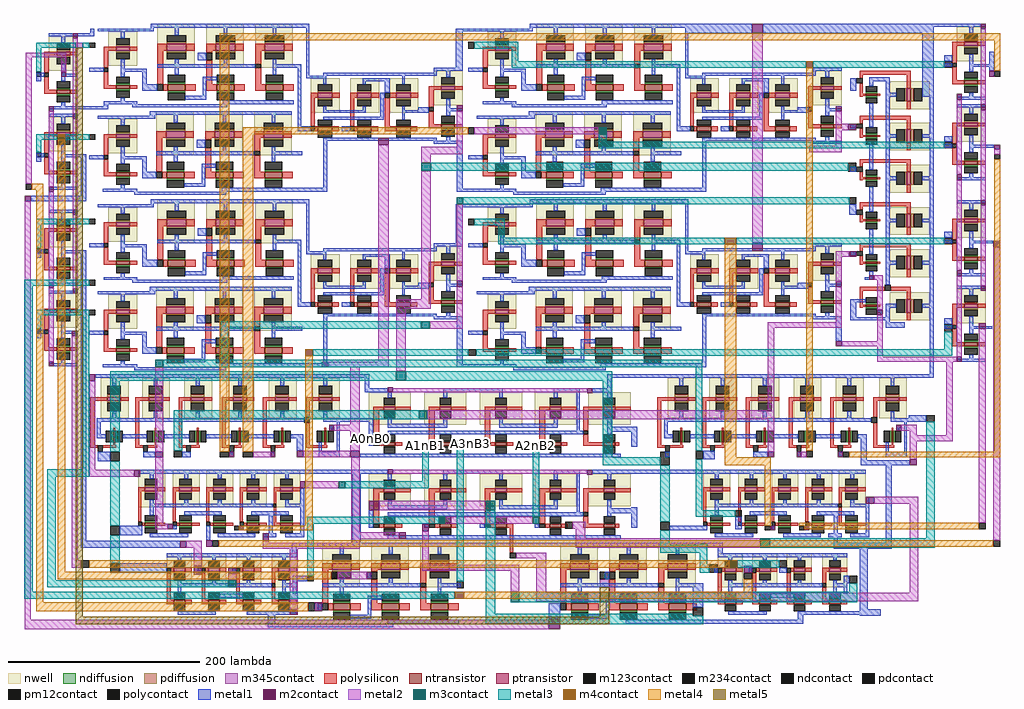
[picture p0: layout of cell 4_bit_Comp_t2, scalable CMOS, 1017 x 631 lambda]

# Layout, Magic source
magic
tech scmos
<< polysilicon >>
rect 384 -383 388 -353
<< metal1 >>
rect -53 158 -49 163
rect -72 155 -71 158
rect -66 155 -49 158
rect 328 160 375 163
rect 328 119 335 160
rect 567 158 637 168
rect 648 165 871 168
rect 648 158 826 165
rect -109 108 -104 113
rect 739 98 745 111
rect 814 96 826 158
rect 837 129 845 135
rect 884 126 889 139
rect 871 123 889 126
rect 884 119 889 123
rect -39 82 -34 87
rect -72 79 -34 82
rect -73 29 -57 32
rect -109 24 -104 29
rect -63 -11 -57 29
rect 329 -4 335 46
rect 837 45 845 51
rect 873 39 889 42
rect 329 -7 387 -4
rect -115 -17 -57 -11
rect 328 -23 371 -20
rect 328 -64 335 -23
rect 738 -31 745 -20
rect 837 -55 845 -49
rect -70 -71 -57 -68
rect 874 -61 888 -58
rect -109 -76 -104 -71
rect -109 -160 -104 -155
rect -63 -371 -57 -71
rect 329 -187 335 -137
rect 724 -163 730 -137
rect 776 -149 796 -143
rect 329 -190 390 -187
rect 822 -197 826 -124
rect 837 -145 845 -139
rect 870 -150 873 -147
rect 880 -150 887 -147
rect -48 -201 -29 -197
rect 152 -201 238 -197
rect 233 -216 238 -201
rect 486 -201 572 -197
rect 722 -201 826 -197
rect 486 -216 490 -201
rect 208 -247 242 -243
rect 800 -247 818 -240
rect 162 -277 169 -260
rect 237 -272 242 -247
rect 511 -273 517 -252
rect -45 -288 -32 -278
rect 2 -284 15 -278
rect 43 -284 52 -278
rect 228 -284 288 -280
rect 586 -286 598 -277
rect 638 -284 653 -278
rect 750 -287 756 -260
rect 750 -292 801 -287
rect 149 -301 249 -297
rect 482 -301 609 -297
rect 166 -331 170 -316
rect -22 -365 1 -355
rect 68 -370 72 -355
rect -63 -378 41 -371
rect 157 -377 206 -373
rect 220 -377 229 -301
rect 237 -357 242 -339
rect 511 -357 517 -336
rect 551 -360 590 -355
rect 619 -359 626 -346
rect 722 -373 726 -357
rect 776 -373 782 -292
rect 326 -377 453 -373
rect 575 -377 606 -373
rect 157 -388 162 -377
rect 601 -388 606 -377
rect 722 -379 782 -373
rect -22 -404 27 -394
rect 158 -413 173 -407
rect 665 -404 673 -399
rect 732 -415 738 -407
rect 132 -457 140 -444
rect 425 -452 437 -436
rect 575 -440 586 -415
rect 749 -442 757 -379
rect 749 -444 771 -442
rect 257 -457 261 -454
rect 132 -461 263 -457
rect 684 -453 690 -445
rect 726 -448 771 -444
rect 749 -449 771 -448
rect 567 -457 690 -453
<< m2contact >>
rect -71 153 -66 158
rect 637 158 648 168
rect 875 163 880 168
rect -83 113 -78 118
rect 884 113 889 119
rect 850 89 855 95
rect -96 77 -91 82
rect 329 77 335 83
rect 724 77 730 82
rect 875 78 880 84
rect -71 69 -66 74
rect 737 57 745 64
rect 247 42 258 49
rect -96 -7 -91 -2
rect 889 37 895 42
rect 850 5 855 11
rect -121 -17 -115 -11
rect -71 -31 -66 -26
rect 875 -21 880 -16
rect 637 -69 648 -60
rect 888 -65 895 -58
rect -96 -107 -91 -102
rect -71 -113 -66 -108
rect -72 -157 -66 -152
rect -96 -189 -91 -184
rect 738 -75 745 -69
rect 759 -99 764 -94
rect 850 -95 855 -89
rect 329 -106 335 -100
rect 724 -106 730 -101
rect 875 -110 880 -105
rect 767 -135 773 -130
rect 188 -190 195 -184
rect 724 -168 730 -163
rect 873 -150 880 -144
rect 850 -184 855 -179
rect -54 -204 -48 -197
rect 196 -256 201 -250
rect 787 -256 792 -250
rect 15 -284 23 -278
rect 92 -284 97 -278
rect 135 -284 140 -278
rect 162 -284 169 -277
rect 218 -284 228 -277
rect 653 -284 660 -278
rect 683 -284 688 -278
rect 726 -284 731 -278
rect 801 -292 808 -286
rect -7 -304 -1 -297
rect 166 -316 171 -309
rect 28 -359 33 -353
rect 102 -360 107 -355
rect 41 -378 47 -371
rect 68 -377 74 -370
rect 127 -371 133 -363
rect 237 -339 248 -329
rect 755 -332 764 -325
rect 293 -361 300 -353
rect 656 -360 661 -355
rect 691 -360 696 -355
rect 269 -369 276 -362
rect 55 -406 63 -397
rect 91 -405 99 -399
rect 235 -411 240 -403
rect 628 -404 637 -397
rect 155 -448 163 -442
rect 181 -444 189 -435
rect 425 -463 437 -452
<< pm12contact >>
rect 442 -358 450 -351
rect 384 -389 391 -383
<< metal2 >>
rect -120 133 -78 138
rect -120 1 -114 133
rect -83 118 -78 133
rect -96 -2 -91 77
rect -121 -453 -115 -17
rect -96 -102 -91 -7
rect -96 -184 -91 -107
rect -71 74 -66 153
rect -71 -26 -66 69
rect -71 -108 -66 -31
rect -72 -391 -66 -157
rect 247 -184 258 42
rect 329 40 335 77
rect 347 53 477 60
rect 292 32 335 40
rect 292 23 302 32
rect 292 -119 302 15
rect 195 -190 258 -184
rect 266 -129 302 -119
rect 329 -100 335 -20
rect 637 -60 648 158
rect 724 64 730 77
rect 724 57 737 64
rect 724 41 730 57
rect 696 34 730 41
rect 850 11 855 89
rect -54 -297 -48 -204
rect 15 -278 23 -190
rect 218 -250 228 -190
rect 266 -194 276 -129
rect 329 -142 335 -106
rect 301 -150 335 -142
rect 724 -75 738 -69
rect 724 -101 730 -75
rect 850 -89 855 5
rect 764 -99 773 -94
rect 724 -143 730 -106
rect 653 -149 730 -143
rect 767 -130 773 -99
rect 653 -235 660 -149
rect 767 -163 773 -135
rect 730 -168 773 -163
rect 767 -179 773 -168
rect 850 -179 855 -95
rect 875 84 880 163
rect 875 -16 880 78
rect 889 32 895 37
rect 875 -105 880 -21
rect 767 -184 850 -179
rect 298 -244 660 -235
rect 201 -256 228 -250
rect 218 -277 228 -256
rect 117 -284 135 -278
rect 169 -284 218 -277
rect -54 -304 -7 -297
rect 15 -353 23 -284
rect 171 -316 206 -309
rect 15 -359 28 -353
rect 219 -362 228 -284
rect 653 -278 660 -244
rect 792 -256 808 -250
rect 801 -261 808 -256
rect 839 -261 846 -184
rect 801 -267 846 -261
rect 688 -284 693 -278
rect 801 -286 808 -267
rect 248 -339 359 -329
rect 764 -332 810 -325
rect 317 -353 408 -346
rect 450 -358 463 -351
rect 47 -378 63 -371
rect 127 -373 133 -371
rect 219 -369 269 -362
rect 219 -373 228 -369
rect -72 -399 -63 -391
rect 55 -397 63 -378
rect 127 -379 228 -373
rect 91 -412 99 -405
rect 155 -442 163 -379
rect 293 -396 300 -361
rect 453 -368 463 -358
rect 453 -378 645 -368
rect 391 -389 422 -383
rect 293 -402 394 -396
rect 205 -411 235 -403
rect 385 -424 394 -402
rect 412 -425 422 -389
rect 801 -425 810 -332
rect 873 -352 880 -150
rect 888 -370 895 -65
rect 412 -434 810 -425
rect -121 -463 425 -453
<< m3contact >>
rect 15 -190 23 -182
rect 477 53 485 60
rect 292 15 302 23
rect 329 -20 335 -13
rect 292 -150 301 -142
rect 266 -204 276 -194
rect 290 -244 298 -235
rect 206 -316 213 -309
rect 359 -339 369 -329
rect 310 -353 317 -346
rect 408 -353 415 -346
rect 91 -419 99 -412
rect 645 -378 655 -368
rect 385 -435 394 -424
<< m123contact >>
rect -109 113 -104 118
rect -109 29 -104 34
rect -109 -71 -104 -66
rect -109 -155 -104 -150
rect -54 143 -48 148
rect 341 142 347 149
rect -54 47 -48 53
rect -54 -41 -48 -35
rect -54 -105 -48 -99
rect -54 -136 -48 -130
rect 341 -42 347 -35
rect 837 122 845 129
rect 837 38 845 45
rect 737 14 745 23
rect 738 -20 745 -13
rect 837 -62 845 -55
rect 341 -178 349 -171
rect 837 -153 845 -145
rect 293 -275 300 -268
rect 351 -273 358 -266
rect 408 -276 415 -268
rect -32 -288 -22 -278
rect 34 -284 43 -277
rect -32 -365 -22 -355
rect 541 -292 551 -278
rect 578 -286 586 -277
rect 818 -247 827 -240
rect 619 -346 626 -339
rect -32 -404 -22 -394
rect 541 -360 551 -351
rect 173 -413 180 -407
rect 329 -420 336 -413
rect 478 -411 488 -403
rect 592 -404 601 -395
rect 665 -399 673 -391
rect 738 -415 746 -407
rect 575 -449 586 -440
<< metal3 >>
rect -109 143 -68 148
rect -61 143 -54 148
rect -109 118 -104 143
rect 347 142 393 149
rect 386 129 393 142
rect 386 122 693 129
rect 700 122 837 129
rect -109 47 -87 53
rect -79 47 -54 53
rect -109 34 -104 47
rect 477 45 485 53
rect 477 38 837 45
rect 302 15 737 23
rect 335 -20 738 -13
rect -109 -41 -54 -35
rect -109 -66 -104 -41
rect 347 -42 379 -35
rect 372 -55 379 -42
rect 372 -62 608 -55
rect 620 -62 837 -55
rect -122 -105 -54 -99
rect -122 -424 -113 -105
rect -109 -136 -54 -130
rect -109 -150 -104 -136
rect -61 -296 -54 -136
rect 83 -150 292 -142
rect 83 -182 91 -150
rect 837 -171 845 -153
rect 179 -178 341 -171
rect 349 -178 845 -171
rect 23 -190 585 -182
rect -98 -304 -54 -296
rect -32 -204 266 -194
rect 276 -204 491 -194
rect -32 -278 -22 -204
rect 34 -244 290 -235
rect 34 -277 43 -244
rect -98 -412 -89 -304
rect -32 -355 -22 -288
rect 293 -309 300 -275
rect 213 -316 300 -309
rect 329 -273 351 -266
rect 173 -353 310 -346
rect -32 -394 -22 -365
rect 173 -407 180 -353
rect -98 -419 91 -412
rect 329 -413 336 -273
rect -122 -431 327 -424
rect 359 -447 369 -339
rect 408 -346 415 -276
rect 481 -284 491 -204
rect 578 -277 585 -190
rect 481 -292 541 -284
rect 541 -351 551 -292
rect 578 -339 585 -286
rect 578 -346 619 -339
rect 541 -375 551 -360
rect 818 -368 827 -247
rect 582 -375 590 -374
rect 541 -383 590 -375
rect 655 -378 827 -368
rect 582 -395 590 -383
rect 582 -404 592 -395
rect 621 -399 665 -391
rect 738 -424 746 -415
rect 394 -435 746 -424
rect 359 -449 575 -447
rect 359 -458 586 -449
<< m234contact >>
rect 889 113 895 119
rect 341 53 347 60
rect 889 27 895 32
rect -120 -5 -114 1
rect 82 -284 92 -278
rect 106 -284 117 -278
rect 97 -360 102 -355
rect -63 -399 -54 -391
rect 74 -377 81 -370
rect 198 -411 205 -403
rect 174 -444 181 -435
rect 693 -284 700 -277
rect 731 -284 738 -278
rect 650 -360 656 -355
rect 686 -360 691 -355
rect 873 -359 880 -352
rect 888 -377 895 -370
rect 628 -411 637 -404
<< m4contact >>
rect 693 122 700 129
rect -87 47 -79 53
rect 608 -62 620 -55
rect 171 -178 179 -171
rect 327 -431 336 -424
rect 613 -399 621 -391
<< metal4 >>
rect 82 151 895 158
rect -114 -5 -102 1
rect -109 -435 -102 -5
rect -87 -403 -79 47
rect 82 -278 92 151
rect 106 53 341 60
rect 106 -278 117 53
rect 171 -355 179 -178
rect 608 -284 620 -62
rect 693 -277 700 122
rect 889 119 895 151
rect 889 -278 895 27
rect 738 -284 895 -278
rect 608 -292 656 -284
rect 102 -360 179 -355
rect 650 -355 656 -292
rect 686 -355 873 -352
rect 691 -359 873 -355
rect 81 -377 888 -370
rect -54 -399 613 -391
rect -87 -411 198 -403
rect 628 -424 637 -411
rect 336 -431 637 -424
rect -109 -444 174 -435
<< m345contact >>
rect -68 143 -61 148
rect 478 -419 488 -411
<< metal5 >>
rect -68 -450 -61 143
rect 478 -450 488 -419
rect -68 -458 488 -450
use 3_input_AND  3_input_AND_0
transform 1 0 72 0 1 -409
box -49 -39 90 25
use AND_2  AND_2_0
transform 1 0 190 0 1 -420
box -8 -37 143 47
use 4_input_OR  4_input_OR_1
transform 1 0 239 0 1 -333
box -6 -36 278 37
use 4_input_OR  4_input_OR_0
transform 1 0 239 0 1 -248
box -6 -36 278 37
use 5_input_AND  5_input_AND_0
transform 1 0 -41 0 1 -239
box -12 -45 256 42
use XNOR  XNOR_1
transform 1 0 237 0 1 -160
box -291 -33 98 145
use 4_input_AND  4_input_AND_0
transform 1 0 61 0 1 -314
box -64 -53 109 17
use CMOS_in  CMOS_in_3
transform 1 0 -96 0 1 -149
box -13 -40 30 39
use 3_input_AND  3_input_AND_1
transform 1 0 646 0 1 -409
box -49 -39 90 25
use AND_2  AND_2_1
transform 1 0 438 0 1 -420
box -8 -37 143 47
use 5_input_AND  5_input_AND_1
transform 1 0 550 0 1 -239
box -12 -45 256 42
use XNOR  XNOR_3
transform 1 0 632 0 1 -160
box -291 -33 98 145
use 4_input_AND  4_input_AND_1
transform 1 0 650 0 1 -314
box -64 -53 109 17
use XNOR  XNOR_0
transform 1 0 237 0 1 23
box -291 -33 98 145
use CMOS_in  CMOS_in_2
transform 1 0 -96 0 1 -65
box -13 -40 30 39
use CMOS_in  CMOS_in_1
transform 1 0 -96 0 1 35
box -13 -40 30 39
use CMOS_in  CMOS_in_0
transform 1 0 -96 0 1 119
box -13 -40 30 39
use XNOR  XNOR_2
transform 1 0 632 0 1 23
box -291 -33 98 145
use 5_input_AND  5_input_AND_2
transform 0 1 784 -1 0 107
box -12 -45 256 42
use CMOS_in  CMOS_in_7
transform 1 0 850 0 1 -144
box -13 -40 30 39
use CMOS_in  CMOS_in_6
transform 1 0 850 0 1 -55
box -13 -40 30 39
use CMOS_in  CMOS_in_5
transform 1 0 850 0 1 45
box -13 -40 30 39
use CMOS_in  CMOS_in_4
transform 1 0 850 0 1 129
box -13 -40 30 39
<< labels >>
flabel metal3 340 -273 347 -266 0 FreeSans 9 0 0 0 A3nB3
flabel m123contact 293 -275 300 -268 0 FreeSans 9 0 0 0 A1nB1
flabel m123contact 408 -275 415 -268 0 FreeSans 9 0 0 0 A2nB2
flabel metal1 237 -268 242 -261 0 FreeSans 9 0 0 0 A0nB0
<< end >>

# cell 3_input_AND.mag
magic
tech scmos
<< nwell >>
rect -45 -10 -19 25
rect -9 -10 17 25
rect 27 -10 53 25
rect 64 -10 90 25
<< ntransistor >>
rect -38 -28 -26 -23
rect -2 -28 10 -23
rect 34 -28 46 -23
rect 71 -28 83 -23
<< ptransistor >>
rect -38 6 -26 10
rect -2 6 10 10
rect 34 6 46 10
rect 71 6 83 10
<< ndiffusion >>
rect -38 -23 -26 -22
rect -2 -23 10 -22
rect 34 -23 46 -22
rect 71 -23 83 -22
rect -38 -29 -26 -28
rect -2 -29 10 -28
rect 34 -29 46 -28
rect 71 -29 83 -28
<< pdiffusion >>
rect -38 10 -26 11
rect -2 10 10 11
rect 34 10 46 11
rect 71 10 83 11
rect -38 4 -26 6
rect -2 4 10 6
rect 34 4 46 6
rect 71 4 83 6
<< ndcontact >>
rect -38 -22 -26 -16
rect -2 -22 10 -16
rect 34 -22 46 -16
rect 71 -22 83 -16
rect -38 -35 -26 -29
rect -2 -35 10 -29
rect 34 -35 46 -29
rect 71 -35 83 -29
<< pdcontact >>
rect -38 11 -26 18
rect -2 11 10 18
rect 34 11 46 18
rect 71 11 83 18
rect -38 -3 -26 4
rect -2 -3 10 4
rect 34 -3 46 4
rect 71 -3 83 4
<< polysilicon >>
rect -41 6 -38 10
rect -26 6 -19 10
rect -45 -23 -41 5
rect -5 6 -2 10
rect 10 6 17 10
rect -9 -23 -5 5
rect 31 6 34 10
rect 46 6 53 10
rect 64 6 71 10
rect 83 6 90 10
rect 27 -23 31 5
rect 64 -6 68 6
rect 64 -23 68 -10
rect -45 -28 -38 -23
rect -26 -28 -19 -23
rect -9 -28 -2 -23
rect 10 -28 17 -23
rect 27 -28 34 -23
rect 46 -28 53 -23
rect 64 -28 71 -23
rect 83 -28 90 -23
<< polycontact >>
rect -45 5 -41 10
rect -9 5 -5 10
rect 27 5 31 10
rect 64 -10 68 -6
<< metal1 >>
rect -45 21 90 25
rect -34 18 -30 21
rect 2 18 6 21
rect 38 18 42 21
rect 75 18 79 21
rect -49 5 -45 10
rect -13 5 -9 10
rect 23 5 27 10
rect -34 -6 -30 -3
rect 2 -6 6 -3
rect 38 -6 42 -3
rect 75 -6 79 -3
rect 86 -6 90 2
rect -34 -10 64 -6
rect 75 -10 90 -6
rect -34 -16 -30 -10
rect 75 -16 79 -10
rect 10 -21 34 -17
rect 86 -17 90 -10
rect -34 -39 6 -35
rect 38 -39 90 -35
<< end >>

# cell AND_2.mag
magic
tech scmos
<< nwell >>
rect -1 1 38 47
rect 50 1 89 47
rect 101 1 140 47
<< ntransistor >>
rect 10 -23 28 -16
rect 61 -23 79 -16
rect 112 -23 130 -16
<< ptransistor >>
rect 9 19 29 26
rect 60 19 80 26
rect 111 19 131 26
<< ndiffusion >>
rect 10 -16 28 -14
rect 61 -16 79 -14
rect 112 -16 130 -14
rect 10 -25 28 -23
rect 61 -25 79 -23
rect 112 -25 130 -23
<< pdiffusion >>
rect 9 26 29 28
rect 60 26 80 28
rect 111 26 131 28
rect 9 17 29 19
rect 60 17 80 19
rect 111 17 131 19
<< ndcontact >>
rect 10 -14 28 -6
rect 61 -14 79 -6
rect 112 -14 130 -6
rect 10 -33 28 -25
rect 61 -33 79 -25
rect 112 -33 130 -25
<< pdcontact >>
rect 9 28 29 35
rect 60 28 80 35
rect 111 28 131 35
rect 9 10 29 17
rect 60 10 80 17
rect 111 10 131 17
<< polysilicon >>
rect -1 19 9 26
rect 29 19 38 26
rect 50 19 60 26
rect 80 19 89 26
rect 101 19 111 26
rect 131 19 140 26
rect -1 -16 5 19
rect 50 17 56 19
rect 50 -16 56 9
rect 101 5 107 19
rect 101 -16 107 1
rect 5 -23 10 -16
rect 28 -23 39 -16
rect 50 -23 61 -16
rect 79 -23 90 -16
rect 101 -23 112 -16
rect 130 -23 141 -16
<< polycontact >>
rect 50 9 56 17
rect 101 1 107 5
rect -1 -23 5 -16
<< metal1 >>
rect -8 43 140 47
rect 17 35 21 43
rect 68 35 72 43
rect 119 35 123 43
rect 17 5 21 10
rect 45 9 50 17
rect 68 5 72 10
rect 119 5 123 10
rect -1 1 101 5
rect 119 1 143 5
rect 17 -6 21 1
rect 119 -6 123 1
rect 46 -12 61 -8
rect -6 -23 -1 -16
rect 46 -28 50 -12
rect 28 -32 50 -28
rect 67 -37 141 -33
<< end >>

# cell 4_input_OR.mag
magic
tech scmos
<< nwell >>
rect -2 -2 42 32
rect 56 -2 100 32
rect 114 -2 158 32
rect 171 -2 215 32
rect 227 -2 271 32
<< ntransistor >>
rect 14 -24 26 -20
rect 72 -24 84 -20
rect 130 -24 142 -20
rect 187 -24 199 -20
rect 243 -24 255 -20
<< ptransistor >>
rect 14 13 26 17
rect 72 13 84 17
rect 130 13 142 17
rect 187 13 199 17
rect 243 13 255 17
<< ndiffusion >>
rect 14 -20 26 -19
rect 72 -20 84 -19
rect 130 -20 142 -19
rect 187 -20 199 -19
rect 243 -20 255 -19
rect 14 -25 26 -24
rect 72 -25 84 -24
rect 130 -25 142 -24
rect 187 -25 199 -24
rect 243 -25 255 -24
<< pdiffusion >>
rect 14 17 26 19
rect 72 17 84 19
rect 130 17 142 19
rect 187 17 199 19
rect 243 17 255 19
rect 14 12 26 13
rect 72 12 84 13
rect 130 12 142 13
rect 187 12 199 13
rect 243 12 255 13
<< ndcontact >>
rect 14 -19 26 -12
rect 72 -19 84 -12
rect 130 -19 142 -12
rect 187 -19 199 -12
rect 243 -19 255 -12
rect 14 -32 26 -25
rect 72 -32 84 -25
rect 130 -32 142 -25
rect 187 -32 199 -25
rect 243 -32 255 -25
<< pdcontact >>
rect 14 19 26 26
rect 72 19 84 26
rect 130 19 142 26
rect 187 19 199 26
rect 243 19 255 26
rect 14 5 26 12
rect 72 5 84 12
rect 130 5 142 12
rect 187 5 199 12
rect 243 5 255 12
<< polysilicon >>
rect 3 13 14 17
rect 26 13 42 17
rect 61 13 72 17
rect 84 13 100 17
rect 119 13 130 17
rect 142 13 158 17
rect 176 13 187 17
rect 199 13 215 17
rect 222 13 243 17
rect 255 13 271 17
rect 3 -20 9 13
rect 61 -20 67 13
rect 119 -20 125 13
rect 176 -20 182 13
rect 222 -8 227 13
rect 222 -20 227 -12
rect 9 -24 14 -20
rect 26 -24 33 -20
rect 67 -24 72 -20
rect 84 -24 91 -20
rect 125 -24 130 -20
rect 142 -24 149 -20
rect 182 -24 187 -20
rect 199 -24 205 -20
rect 222 -24 243 -20
rect 255 -24 259 -20
<< polycontact >>
rect 222 -12 227 -8
rect 3 -24 9 -20
rect 61 -24 67 -20
rect 119 -24 125 -20
rect 176 -24 182 -20
<< metal1 >>
rect -6 32 18 36
rect 76 32 138 36
rect 18 26 22 32
rect 76 26 80 32
rect 134 26 138 32
rect 191 32 218 36
rect 191 26 195 32
rect 18 -1 22 5
rect 76 -1 80 5
rect 18 -5 80 -1
rect 134 -1 138 5
rect 191 -1 195 5
rect 134 -5 195 -1
rect 215 -8 218 32
rect 231 32 251 36
rect 247 26 251 32
rect 247 -4 251 5
rect 18 -12 222 -8
rect 247 -9 278 -4
rect 247 -12 251 -9
rect -2 -24 3 -20
rect 56 -24 61 -20
rect 114 -24 119 -20
rect 171 -24 176 -20
rect 18 -36 261 -32
<< m2contact >>
rect 18 32 23 37
rect 226 31 231 36
<< metal2 >>
rect 23 32 226 36
<< end >>

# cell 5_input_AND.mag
magic
tech scmos
<< nwell >>
rect -1 -4 28 38
rect 42 -4 71 38
rect 86 -4 115 38
rect 130 -4 159 38
rect 174 -4 203 38
rect 219 -4 248 38
<< ntransistor >>
rect 12 -29 14 -17
rect 55 -29 57 -17
rect 99 -29 101 -17
rect 143 -29 145 -17
rect 187 -29 189 -17
rect 232 -29 234 -17
<< ptransistor >>
rect 6 14 20 18
rect 49 14 63 18
rect 93 14 107 18
rect 137 14 151 18
rect 181 14 195 18
rect 226 14 240 18
<< ndiffusion >>
rect 10 -29 12 -17
rect 14 -29 16 -17
rect 53 -29 55 -17
rect 57 -29 59 -17
rect 97 -29 99 -17
rect 101 -29 103 -17
rect 141 -29 143 -17
rect 145 -29 147 -17
rect 185 -29 187 -17
rect 189 -29 191 -17
rect 230 -29 232 -17
rect 234 -29 236 -17
<< pdiffusion >>
rect 6 18 20 21
rect 49 18 63 21
rect 93 18 107 21
rect 137 18 151 21
rect 181 18 195 21
rect 226 18 240 21
rect 6 12 20 14
rect 49 12 63 14
rect 93 12 107 14
rect 137 12 151 14
rect 181 12 195 14
rect 226 12 240 14
<< ndcontact >>
rect 4 -29 10 -17
rect 16 -29 22 -17
rect 47 -29 53 -17
rect 59 -29 65 -17
rect 91 -29 97 -17
rect 103 -29 109 -17
rect 135 -29 141 -17
rect 147 -29 153 -17
rect 179 -29 185 -17
rect 191 -29 197 -17
rect 224 -29 230 -17
rect 236 -29 242 -17
<< pdcontact >>
rect 6 21 20 30
rect 49 21 63 30
rect 93 21 107 30
rect 137 21 151 30
rect 181 21 195 30
rect 226 21 240 30
rect 6 3 20 12
rect 49 3 63 12
rect 93 3 107 12
rect 137 3 151 12
rect 181 3 195 12
rect 226 3 240 12
<< polysilicon >>
rect -12 14 6 18
rect 20 14 28 18
rect 35 14 49 18
rect 63 14 71 18
rect 80 14 93 18
rect 107 14 115 18
rect 125 14 137 18
rect 151 14 159 18
rect 168 14 181 18
rect 195 14 203 18
rect 213 14 226 18
rect 240 14 248 18
rect -12 -32 -8 14
rect 12 -17 14 -14
rect 12 -32 14 -29
rect 35 -32 39 14
rect 55 -17 57 -14
rect 55 -32 57 -29
rect 80 -32 84 14
rect 99 -17 101 -14
rect 99 -32 101 -29
rect 125 -32 129 14
rect 143 -17 145 -14
rect 143 -32 145 -29
rect 168 -32 172 14
rect 213 -3 217 14
rect 187 -17 189 -14
rect 187 -32 189 -29
rect 213 -32 217 -9
rect 232 -17 234 -14
rect 232 -32 234 -29
rect -12 -35 -4 -32
rect 1 -35 15 -32
rect 35 -35 43 -32
rect 48 -35 58 -32
rect 80 -35 88 -32
rect 93 -35 102 -32
rect 125 -35 133 -32
rect 138 -35 146 -32
rect 168 -35 176 -32
rect 181 -35 190 -32
rect 213 -35 235 -32
<< polycontact >>
rect 211 -9 217 -3
rect -4 -39 1 -32
rect 43 -39 48 -32
rect 88 -39 93 -32
rect 133 -39 138 -32
rect 176 -39 181 -32
<< metal1 >>
rect -6 38 248 42
rect 11 30 15 38
rect 54 30 58 38
rect 98 30 102 38
rect 142 30 146 38
rect 186 30 190 38
rect 231 30 235 38
rect 11 -4 15 3
rect 54 -4 58 3
rect 98 -4 102 3
rect 142 -4 146 3
rect 186 -4 190 3
rect -5 -8 211 -4
rect -5 -21 -1 -8
rect 231 -4 235 3
rect 231 -8 256 -4
rect 237 -14 242 -11
rect 237 -17 240 -14
rect -5 -25 4 -21
rect 22 -25 47 -21
rect 65 -25 91 -21
rect 109 -25 135 -21
rect 153 -25 179 -21
rect 197 -25 206 -21
rect 203 -30 206 -25
rect -4 -45 1 -39
rect 43 -45 48 -39
rect 88 -45 93 -39
rect 133 -45 138 -39
rect 176 -45 181 -39
rect 226 -39 229 -29
rect 245 -39 248 -8
rect 226 -45 248 -39
<< end >>

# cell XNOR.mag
magic
tech scmos
<< metal1 >>
rect 68 94 71 99
rect 23 91 71 94
rect 52 52 63 58
rect 44 23 71 26
rect 68 20 71 23
use XOR  XOR_0
transform 1 0 -147 0 1 56
box -144 -89 215 89
use CMOS_in  CMOS_in_0
transform 1 0 68 0 1 60
box -13 -40 30 39
<< end >>

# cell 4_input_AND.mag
magic
tech scmos
<< nwell >>
rect -64 -22 -36 17
rect -28 -22 0 17
rect 7 -22 35 17
rect 42 -22 70 17
rect 77 -22 105 17
<< ntransistor >>
rect -57 -41 -44 -38
rect -21 -41 -8 -38
rect 14 -41 27 -38
rect 49 -41 62 -38
rect 84 -41 97 -38
<< ptransistor >>
rect -57 -5 -44 -1
rect -21 -5 -8 -1
rect 14 -5 27 -1
rect 49 -5 62 -1
rect 84 -5 97 -1
<< ndiffusion >>
rect -57 -38 -44 -36
rect -21 -38 -8 -36
rect 14 -38 27 -36
rect 49 -38 62 -36
rect 84 -38 97 -36
rect -57 -43 -44 -41
rect -21 -43 -8 -41
rect 14 -43 27 -41
rect 49 -43 62 -41
rect 84 -43 97 -41
<< pdiffusion >>
rect -57 -1 -44 1
rect -21 -1 -8 1
rect 14 -1 27 1
rect 49 -1 62 1
rect 84 -1 97 1
rect -57 -7 -44 -5
rect -21 -7 -8 -5
rect 14 -7 27 -5
rect 49 -7 62 -5
rect 84 -7 97 -5
<< ndcontact >>
rect -57 -36 -44 -30
rect -21 -36 -8 -30
rect 14 -36 27 -30
rect 49 -36 62 -30
rect 84 -36 97 -30
rect -57 -49 -44 -43
rect -21 -49 -8 -43
rect 14 -49 27 -43
rect 49 -49 62 -43
rect 84 -49 97 -43
<< pdcontact >>
rect -57 1 -44 8
rect -21 1 -8 8
rect 14 1 27 8
rect 49 1 62 8
rect 84 1 97 8
rect -57 -14 -44 -7
rect -21 -14 -8 -7
rect 14 -14 27 -7
rect 49 -14 62 -7
rect 84 -14 97 -7
<< polysilicon >>
rect -64 -5 -57 -1
rect -44 -5 -36 -1
rect -28 -5 -21 -1
rect -8 -5 0 -1
rect 7 -5 14 -1
rect 27 -5 35 -1
rect 42 -5 49 -1
rect 62 -5 70 -1
rect 77 -5 84 -1
rect 97 -5 105 -1
rect -64 -37 -61 -5
rect -28 -37 -25 -5
rect -60 -41 -57 -38
rect -44 -41 -36 -38
rect 7 -37 10 -5
rect -24 -41 -21 -38
rect -8 -41 0 -38
rect 42 -37 45 -5
rect 77 -18 80 -5
rect 11 -41 14 -38
rect 27 -41 35 -38
rect 77 -38 80 -22
rect 46 -41 49 -38
rect 62 -41 70 -38
rect 77 -41 84 -38
rect 97 -41 105 -38
<< polycontact >>
rect -64 -41 -60 -37
rect -28 -41 -24 -37
rect 7 -41 11 -37
rect 76 -22 80 -18
rect 42 -41 46 -37
<< metal1 >>
rect -64 13 105 17
rect -52 8 -48 13
rect -16 8 -12 13
rect 19 8 23 13
rect 54 8 58 13
rect 89 8 93 13
rect -52 -18 -48 -14
rect -16 -18 -12 -14
rect 19 -18 23 -14
rect 54 -18 58 -14
rect 89 -18 93 -14
rect 105 -18 109 -11
rect -52 -22 76 -18
rect 89 -22 109 -18
rect -52 -30 -48 -22
rect -16 -30 23 -26
rect 54 -30 93 -26
rect -64 -45 -60 -41
rect -28 -45 -24 -41
rect 7 -45 11 -41
rect 42 -45 46 -41
rect 72 -49 76 -30
rect 105 -49 109 -22
rect -52 -53 -12 -49
rect 19 -53 58 -49
rect 66 -53 80 -49
rect 89 -53 109 -49
<< end >>

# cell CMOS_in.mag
magic
tech scmos
<< nwell >>
rect 0 0 30 36
<< ntransistor >>
rect 8 -24 22 -20
<< ptransistor >>
rect 8 16 22 20
<< ndiffusion >>
rect 8 -20 22 -18
rect 8 -26 22 -24
<< pdiffusion >>
rect 8 20 22 22
rect 8 14 22 16
<< ndcontact >>
rect 8 -18 22 -11
rect 8 -33 22 -26
<< pdcontact >>
rect 8 22 22 29
rect 8 7 22 14
<< polysilicon >>
rect -5 16 8 20
rect 22 16 30 20
rect -5 -2 0 16
rect -5 -20 0 -6
rect -5 -24 8 -20
rect 22 -24 30 -20
<< polycontact >>
rect -5 -6 0 -2
<< metal1 >>
rect 0 36 30 39
rect 13 29 17 36
rect -13 -6 -5 -2
rect 13 -3 17 7
rect 13 -6 30 -3
rect 13 -11 17 -6
rect 13 -37 17 -33
rect 0 -40 30 -37
<< end >>

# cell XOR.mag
magic
tech scmos
<< metal1 >>
rect -80 84 -77 89
rect 61 85 85 89
rect -135 81 -120 84
rect -96 81 -77 84
rect -31 51 -24 59
rect 68 43 77 47
rect -144 39 -129 43
rect -97 39 -84 42
rect -89 26 -84 39
rect -89 19 -73 26
rect -129 5 -121 8
rect -99 5 -94 8
rect -5 5 0 9
rect -99 2 0 5
rect -81 -7 -75 -2
rect -135 -10 -119 -7
rect -96 -10 -75 -7
rect 73 -18 77 43
rect 82 32 85 85
rect 194 -4 205 -1
rect 73 -23 87 -18
rect 119 -23 125 -18
rect -32 -40 -25 -32
rect 65 -48 78 -44
rect -144 -52 -129 -48
rect -101 -52 -84 -49
rect -89 -65 -84 -52
rect -89 -72 -74 -65
rect 100 -82 104 -30
rect -130 -86 -118 -83
rect -97 -86 -94 -83
rect -6 -86 -1 -82
rect 63 -86 104 -82
rect -97 -89 -1 -86
use OR_2  OR_2_0 /home/vsoham
transform 1 0 129 0 1 -2
box -47 -31 71 40
use AND_2  AND_2_1 /home/vsoham
transform 1 0 -73 0 1 -49
box -8 -37 143 47
use AND_2  AND_2_0
transform 1 0 -72 0 1 42
box -8 -37 143 47
use CMOS_in  CMOS_in_1 /home/vsoham
transform 1 0 -124 0 1 -46
box -13 -40 30 39
use CMOS_in  CMOS_in_0
transform 1 0 -124 0 1 45
box -13 -40 30 39
<< labels >>
flabel metal1 -144 -52 -137 -48 0 FreeSans 9 0 0 0 B
flabel metal1 -144 39 -137 43 0 FreeSans 9 0 0 0 A
flabel metal1 194 -4 205 -1 0 FreeSans 9 0 0 0 OUT
flabel metal1 65 -48 78 -44 0 FreeSans 9 0 0 0 ABc
flabel metal1 119 -23 125 -18 0 FreeSans 9 0 0 0 ABc
flabel metal1 -31 51 -24 59 0 FreeSans 9 0 0 0 B
flabel metal1 -32 -40 -25 -32 0 FreeSans 9 0 0 0 A
flabel metal1 -135 81 -123 84 0 FreeSans 9 0 0 0 VDD
flabel metal1 -135 -10 -123 -7 0 FreeSans 9 0 0 0 VDD
flabel metal1 -130 -86 -118 -83 0 FreeSans 9 0 0 0 GND
flabel metal1 -129 5 -121 8 0 FreeSans 9 0 0 0 GND
<< end >>

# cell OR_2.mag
magic
tech scmos
<< nwell >>
rect -42 -2 -12 34
rect -1 -2 29 34
rect 40 -2 70 34
<< ntransistor >>
rect -35 -21 -20 -16
rect 6 -21 21 -16
rect 47 -21 62 -16
<< ptransistor >>
rect -35 14 -20 19
rect 6 14 21 19
rect 47 14 62 19
<< ndiffusion >>
rect -35 -16 -20 -15
rect 6 -16 21 -15
rect 47 -16 62 -15
rect -35 -22 -20 -21
rect 6 -22 21 -21
rect 47 -22 62 -21
<< pdiffusion >>
rect -35 19 -20 21
rect 6 19 21 21
rect 47 19 62 21
rect -35 12 -20 14
rect 6 12 21 14
rect 47 12 62 14
<< ndcontact >>
rect -35 -15 -20 -9
rect 6 -15 21 -9
rect 47 -15 62 -9
rect -35 -28 -20 -22
rect 6 -28 21 -22
rect 47 -28 62 -22
<< pdcontact >>
rect -35 21 -20 28
rect 6 21 21 28
rect 47 21 62 28
rect -35 5 -20 12
rect 6 5 21 12
rect 47 5 62 12
<< polysilicon >>
rect -42 14 -35 19
rect -20 14 -12 19
rect -1 14 6 19
rect 21 14 29 19
rect 40 14 47 19
rect 62 14 70 19
rect -42 -16 -38 14
rect -1 -16 3 14
rect 35 -16 40 14
rect -38 -21 -35 -16
rect -20 -21 -13 -16
rect 3 -21 6 -16
rect 21 -21 28 -16
rect 35 -21 47 -16
rect 62 -21 69 -16
<< polycontact >>
rect 35 14 40 19
rect -42 -21 -38 -16
rect -1 -21 3 -16
<< metal1 >>
rect -29 37 56 40
rect -47 34 -26 37
rect -29 28 -26 34
rect 12 31 40 34
rect 12 28 15 31
rect 35 19 40 31
rect 53 28 56 37
rect 30 14 35 19
rect -29 1 -26 5
rect 12 1 15 5
rect -29 -2 15 1
rect 30 -6 34 14
rect -29 -9 34 -6
rect 53 1 56 5
rect 53 -2 71 1
rect 53 -9 56 -2
rect -47 -21 -42 -16
rect -6 -21 -1 -16
rect -29 -31 69 -28
<< end >>
